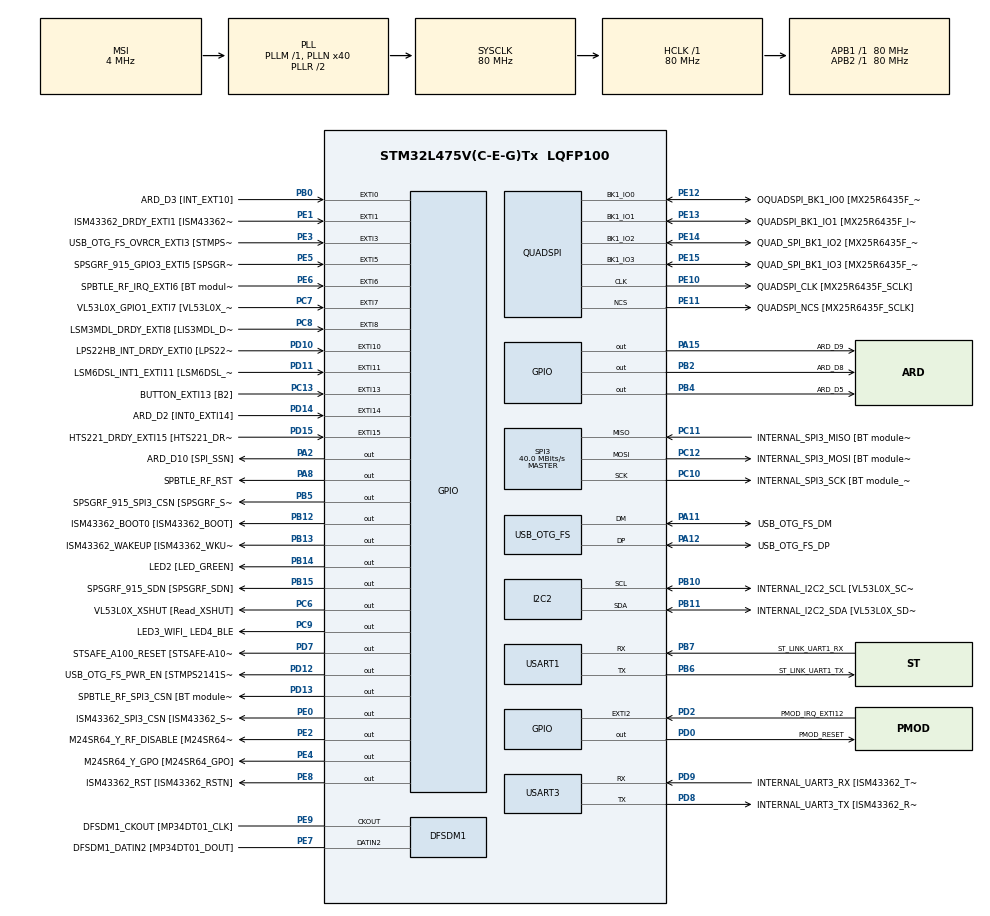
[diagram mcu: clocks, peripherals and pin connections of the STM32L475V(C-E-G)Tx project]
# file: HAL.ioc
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Mcu.Family=STM32L4
Mcu.Name=STM32L475V(C-E-G)Tx
Mcu.Package=LQFP100
NVIC.EXTI15_10_IRQn=true\:0\:0\:false\:false\:true\:true\:true\:true
NVIC.EXTI9_5_IRQn=true\:0\:0\:false\:false\:true\:true\:true\:true
NVIC.PriorityGroup=NVIC_PRIORITYGROUP_4
PA0.GPIO_Label=ARD_D1 [UART4_TX]
PA0.Signal=UART4_TX
PA1.GPIO_Label=ARD_D0 [UART4_RX]
PA1.Signal=UART4_RX
PA10.GPIO_Label=USB_OTG_FS_ID
PA10.Signal=USB_OTG_FS_ID
PA11.GPIO_Label=USB_OTG_FS_DM
PA11.Mode=Device_Only
PA11.Signal=USB_OTG_FS_DM
PA12.GPIO_Label=USB_OTG_FS_DP
PA12.Mode=Device_Only
PA12.Signal=USB_OTG_FS_DP
PA13\ (JTMS-SWDIO).GPIO_Label=SYS_JTMS_SWDIO
PA13\ (JTMS-SWDIO).Mode=Serial_Wire
PA13\ (JTMS-SWDIO).Signal=SYS_JTMS-SWDIO
PA14\ (JTCK-SWCLK).GPIO_Label=SYS_JTCK_SWCLK
PA14\ (JTCK-SWCLK).Mode=Serial_Wire
PA14\ (JTCK-SWCLK).Signal=SYS_JTCK-SWCLK
PA15\ (JTDI).GPIO_Label=ARD_D9
PA15\ (JTDI).Signal=GPIO_Output
PA2.GPIO_Label=ARD_D10 [SPI_SSN]
PA2.Signal=GPIO_Output
PA3.GPIO_Label=ARD_D4
PA3.Signal=S_TIM2_CH4
PA4.GPIO_Label=ARD_D7
PA4.Signal=ADCx_IN9
PA5.GPIO_Label=ARD_D13 [SPI1_SCK]
PA5.Signal=SPI1_SCK
PA6.GPIO_Label=ARD_D12 [SPI1_MISO]
PA6.Signal=SPI1_MISO
PA7.GPIO_Label=ARD_D11 [SPI1_MOSI]
PA7.Signal=SPI1_MOSI
PA8.GPIO_Label=SPBTLE_RF_RST
PA8.Signal=GPIO_Output
PA9.GPIO_Label=USB_OTG_FS_VBUS [STMPS2141STR_OUT]
PA9.Signal=USB_OTG_FS_VBUS
PB0.GPIO_Label=ARD_D3 [INT_EXT10]
PB0.Signal=GPXTI0
PB1.GPIO_Label=ARD_D6 [ADC1_IN6]
PB1.Signal=ADCx_IN16
PB10.GPIO_Label=INTERNAL_I2C2_SCL [VL53L0X_SCL]
PB10.GPIO_Pu=GPIO_PULLUP
PB10.Mode=I2C
PB10.Signal=I2C2_SCL
PB11.GPIO_Label=INTERNAL_I2C2_SDA [VL53L0X_SDA]
PB11.GPIO_Pu=GPIO_PULLUP
PB11.Mode=I2C
PB11.Signal=I2C2_SDA
PB12.GPIO_Label=ISM43362_BOOT0 [ISM43362_BOOT]
PB12.Signal=GPIO_Output
PB13.GPIO_Label=ISM43362_WAKEUP [ISM43362_WKUP]
PB13.Signal=GPIO_Output
PB14.GPIO_Label=LED2 [LED_GREEN]
PB14.Signal=GPIO_Output
PB15.GPIO_Label=SPSGRF_915_SDN [SPSGRF_SDN]
PB15.Signal=GPIO_Output
PB2.GPIO_Label=ARD_D8
PB2.Signal=GPIO_Output
PB3\ (JTDO-TRACESWO).GPIO_Label=SYS_JTD0_SWO
PB3\ (JTDO-TRACESWO).Signal=SYS_JTDO-SWO
PB4\ (NJTRST).GPIO_Label=ARD_D5
PB4\ (NJTRST).Signal=GPIO_Output
PB5.GPIO_Label=SPSGRF_915_SPI3_CSN [SPSGRF_SPI_CS]
PB5.PinState=GPIO_PIN_SET
PB5.Signal=GPIO_Output
PB6.GPIO_Label=ST_LINK_UART1_TX
PB6.Mode=Asynchronous
PB6.Signal=USART1_TX
PB7.GPIO_Label=ST_LINK_UART1_RX
PB7.Mode=Asynchronous
PB7.Signal=USART1_RX
PB8.GPIO_Label=ARD_D15 [I2C1_SCL]
PB8.Signal=I2C1_SCL
PB9.GPIO_Label=ARD_D14 [I2C1_SDA]
PB9.Signal=I2C1_SDA
PC0.GPIO_Label=ARD_A5 [ADC]
PC0.Signal=ADCx_IN1
PC1.GPIO_Label=ARD_A4 [ADC]
PC1.Signal=ADCx_IN2
PC10.GPIO_Label=INTERNAL_SPI3_SCK [BT module_SPI_SCLK] [ISM43362_SCK]
PC10.Mode=Full_Duplex_Master
PC10.Signal=SPI3_SCK
PC11.GPIO_Label=INTERNAL_SPI3_MISO [BT module_SPI_MISO] [ISM43362_MISO]
PC11.Mode=Full_Duplex_Master
PC11.Signal=SPI3_MISO
PC12.GPIO_Label=INTERNAL_SPI3_MOSI [BT module_SPI_MOSI] [ISM43362_MOSI]
PC12.Mode=Full_Duplex_Master
PC12.Signal=SPI3_MOSI
PC13.GPIO_Label=BUTTON_EXTI13 [B2]
PC13.GPIO_ModeDefaultEXTI=GPIO_MODE_IT_FALLING
PC13.Signal=GPXTI13
PC14-OSC32_IN\ (PC14).Mode=LSE-External-Oscillator
PC14-OSC32_IN\ (PC14).Signal=RCC_OSC32_IN
PC15-OSC32_OUT\ (PC15).Mode=LSE-External-Oscillator
PC15-OSC32_OUT\ (PC15).Signal=RCC_OSC32_OUT
PC2.GPIO_Label=ARD_A3 [ADC]
PC2.Signal=ADCx_IN3
PC3.GPIO_Label=ARD_A2 [ADC]
PC3.Signal=ADCx_IN4
PC4.GPIO_Label=ARD_A1 [ADC]
PC4.Signal=ADCx_IN13
PC5.GPIO_Label=ARD_A0 [ADC]
PC5.Signal=ADCx_IN14
PC6.GPIO_Label=VL53L0X_XSHUT [Read_XSHUT]
PC6.Signal=GPIO_Output
PC7.GPIO_Label=VL53L0X_GPIO1_EXTI7 [VL53L0X_GPIO1]
PC7.Signal=GPXTI7
PC8.GPIO_Label=LSM3MDL_DRDY_EXTI8 [LIS3MDL_DRDY]
PC8.Signal=GPXTI8
PC9.GPIO_Label=LED3_WIFI_ LED4_BLE
PC9.Signal=GPIO_Output
PD0.GPIO_Label=PMOD_RESET
PD0.Signal=GPIO_Output
PD1.GPIO_Label=PMOD_SPI2_SCK
PD1.Signal=SPI2_SCK
PD10.GPIO_Label=LPS22HB_INT_DRDY_EXTI0 [LPS22HB_INT_DRDY] 
PD10.Signal=GPXTI10
PD11.GPIO_Label=LSM6DSL_INT1_EXTI11 [LSM6DSL_INT1]
PD11.Signal=GPXTI11
PD12.GPIO_Label=USB_OTG_FS_PWR_EN [STMPS2141STR_EN]
PD12.Signal=GPIO_Output
PD13.GPIO_Label=SPBTLE_RF_SPI3_CSN [BT module_SPI_CS]
PD13.PinState=GPIO_PIN_SET
PD13.Signal=GPIO_Output
PD14.GPIO_Label=ARD_D2 [INT0_EXTI14]
PD14.Signal=GPXTI14
PD15.GPIO_Label=HTS221_DRDY_EXTI15 [HTS221_DRDY]
PD15.Signal=GPXTI15
PD2.GPIO_Label=PMOD_IRQ_EXTI12
PD2.Signal=GPXTI2
PD3.GPIO_Label=PMOD_UART2_CTS
PD3.Signal=USART2_CTS
PD4.GPIO_Label=PMOD_UART2_RTS
PD4.Signal=USART2_RTS
PD5.GPIO_Label=PMOD_UART2_TX
PD5.Signal=USART2_TX
PD6.GPIO_Label=PMOD_UART2_RX
PD6.Signal=USART2_RX
PD7.GPIO_Label=STSAFE_A100_RESET [STSAFE-A100_RESET]
PD7.Signal=GPIO_Output
PD8.GPIO_Label=INTERNAL_UART3_TX [ISM43362_RX]
PD8.Mode=Asynchronous
PD8.Signal=USART3_TX
PD9.GPIO_Label=INTERNAL_UART3_RX [ISM43362_TX]
PD9.Mode=Asynchronous
PD9.Signal=USART3_RX
PE0.GPIO_Label=ISM43362_SPI3_CSN [ISM43362_SSN]
PE0.PinState=GPIO_PIN_SET
PE0.Signal=GPIO_Output
PE1.GPIO_Label=ISM43362_DRDY_EXTI1 [ISM43362_DATARDY]
PE1.Signal=GPXTI1
PE10.GPIO_Label=QUADSPI_CLK [MX25R6435F_SCLK]
PE10.Mode=Single Bank
PE10.Signal=QUADSPI_CLK
PE11.GPIO_Label=QUADSPI_NCS [MX25R6435F_SCLK]
PE11.Mode=Single Bank
PE11.Signal=QUADSPI_NCS
PE12.GPIO_Label=OQUADSPI_BK1_IO0 [MX25R6435F_IO0]
PE12.Mode=Single Bank
PE12.Signal=QUADSPI_BK1_IO0
PE13.GPIO_Label=QUADSPI_BK1_IO1 [MX25R6435F_IO1]
PE13.Mode=Single Bank
PE13.Signal=QUADSPI_BK1_IO1
PE14.GPIO_Label=QUAD_SPI_BK1_IO2 [MX25R6435F_IO2]
PE14.Mode=Single Bank
PE14.Signal=QUADSPI_BK1_IO2
PE15.GPIO_Label=QUAD_SPI_BK1_IO3 [MX25R6435F_IO3]
PE15.Mode=Single Bank
PE15.Signal=QUADSPI_BK1_IO3
PE2.GPIO_Label=M24SR64_Y_RF_DISABLE [M24SR64_RFDIS]
PE2.Signal=GPIO_Output
PE3.GPIO_Label=USB_OTG_FS_OVRCR_EXTI3 [STMPS2141STR_FAULT]
PE3.Signal=GPXTI3
PE4.GPIO_Label=M24SR64_Y_GPO [M24SR64_GPO]
PE4.Signal=GPIO_Output
PE5.GPIO_Label=SPSGRF_915_GPIO3_EXTI5 [SPSGRF_GPIO_3]
PE5.Signal=GPXTI5
PE6.GPIO_Label=SPBTLE_RF_IRQ_EXTI6 [BT module_SPI_IRQ]
PE6.Signal=GPXTI6
PE7.GPIO_Label=DFSDM1_DATIN2 [MP34DT01_DOUT]
PE7.Signal=S_DATAIN2DFSDM1
PE8.GPIO_Label=ISM43362_RST [ISM43362_RSTN]
PE8.Signal=GPIO_Output
PE9.GPIO_Label=DFSDM1_CKOUT [MP34DT01_CLK]
PE9.Signal=S_CKOUTDFSDM1
ProjectManager.HeapSize=0x200
ProjectManager.StackSize=0x400
ProjectManager.TargetToolchain=STM32CubeIDE
QUADSPI.ClockPrescaler=2
QUADSPI.FifoThreshold=4
QUADSPI.FlashSize=23
QUADSPI.SampleShifting=QSPI_SAMPLE_SHIFTING_HALFCYCLE
RCC.ADCFreq_Value=48000000
RCC.AHBFreq_Value=80000000
RCC.APB1Freq_Value=80000000
RCC.APB1TimFreq_Value=80000000
RCC.APB2Freq_Value=80000000
RCC.APB2TimFreq_Value=80000000
RCC.CortexFreq_Value=80000000
RCC.HCLKFreq_Value=80000000
RCC.HSE_VALUE=8000000
RCC.HSI_VALUE=16000000
RCC.MSI_VALUE=4000000
RCC.PLLN=40
RCC.PLLSAI1N=24
RCC.SYSCLKFreq_VALUE=80000000
RCC.SYSCLKSource=RCC_SYSCLKSOURCE_PLLCLK
RCC.USBFreq_Value=48000000
RCC.VCOOutputFreq_Value=160000000
SH.ADCx_IN1.0=ADC1_IN1
SH.ADCx_IN13.0=ADC1_IN13
SH.ADCx_IN14.0=ADC1_IN14
SH.ADCx_IN16.0=ADC1_IN16
SH.ADCx_IN2.0=ADC1_IN2
SH.ADCx_IN3.0=ADC1_IN3
SH.ADCx_IN4.0=ADC1_IN4
SH.ADCx_IN9.0=ADC1_IN9
SH.S_CKOUTDFSDM1.0=DFSDM1_CKOUT,CKOUT
SH.S_CKOUTDFSDM1.1=DFSDM1_CKOUT,PDM_SPI_Input_from_ch12_and_Internal_Clock
SH.S_DATAIN2DFSDM1.0=DFSDM1_DATIN2,PDM_SPI_Input_from_ch12_and_Internal_Clock
SH.S_TIM2_CH4.0=TIM2_CH4
SPI3.CalculateBaudRate=40.0 MBits/s
SPI3.Direction=SPI_DIRECTION_2LINES
SPI3.Mode=SPI_MODE_MASTER
SPI3.VirtualType=VM_MASTER
USART1.VirtualMode-Asynchronous=VM_ASYNC
USART3.VirtualMode-Asynchronous=VM_ASYNC
USB_OTG_FS.VirtualMode=Device_Only
board=B-L475E-IOT01A1

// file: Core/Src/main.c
/* USER CODE BEGIN Header */
/**
  ******************************************************************************
  * @file           : main.c
  * @brief          : Main program body
  ******************************************************************************
  * @attention
  *
  * Copyright (c) 2025 STMicroelectronics.
  * All rights reserved.
  *
  * This software is licensed under terms that can be found in the LICENSE file
  * in the root directory of this software component.
  * If no LICENSE file comes with this software, it is provided AS-IS.
  *
  ******************************************************************************
  */
/* USER CODE END Header */
#include "main.h"

/* USER CODE BEGIN Includes */
#include <stdio.h>
#include <inttypes.h>
/* USER CODE END Includes */

DFSDM_Channel_HandleTypeDef hdfsdm1_channel1;

I2C_HandleTypeDef hi2c2;

QSPI_HandleTypeDef hqspi;

SPI_HandleTypeDef hspi3;

UART_HandleTypeDef huart1;
UART_HandleTypeDef huart3;

PCD_HandleTypeDef hpcd_USB_OTG_FS;

void SystemClock_Config(void);
static void MX_GPIO_Init(void);
static void MX_DFSDM1_Init(void);
static void MX_I2C2_Init(void);
static void MX_QUADSPI_Init(void);
static void MX_SPI3_Init(void);
static void MX_USART1_UART_Init(void);
static void MX_USART3_UART_Init(void);
static void MX_USB_OTG_FS_PCD_Init(void);

/* USER CODE BEGIN 0 */

// Overwriting function to enable "printf"
int __io_putchar(int ch) {
    HAL_UART_Transmit(&huart1, (uint8_t *) &ch, 1, 1000);
    return 1;
}

/* USER CODE END 0 */

int main(void)
{

  /* MCU Configuration--------------------------------------------------------*/

  /* Reset of all peripherals, Initializes the Flash interface and the Systick. */
  HAL_Init();

  /* Configure the system clock */
  SystemClock_Config();

  /* Initialize all configured peripherals */
  MX_GPIO_Init();
  MX_DFSDM1_Init();
  MX_I2C2_Init();
  MX_QUADSPI_Init();
  MX_SPI3_Init();
  MX_USART1_UART_Init();
  MX_USART3_UART_Init();
  MX_USB_OTG_FS_PCD_Init();
  /* USER CODE BEGIN 2 */
  // Get the device ID
  uint32_t device_id = HAL_GetDEVID();
  // Note more conversion work is needed to convert a 32 bit number into a 16 bit
  printf("Device identifier: %08" PRIx32 "\r\n", device_id);

  // Get the revision ID
  uint32_t revision_id = HAL_GetREVID();
  printf("Revision identifier: %08" PRIx32 "\r\n", revision_id);

  // Get the unique ID
  uint32_t uid[3];
  uid[0] = HAL_GetUIDw0();
  uid[1] = HAL_GetUIDw1();
  uid[2] = HAL_GetUIDw2();

  printf("UID: %08" PRIx32 "-%08" PRIx32 "-%08" PRIx32 "\r\n", uid[0], uid[1], uid[2]);

  /* USER CODE END 2 */

  /* Infinite loop */
  while (1)
  {

    /* USER CODE BEGIN 3 */
	  GPIO_PinState pin_state = HAL_GPIO_ReadPin(GPIOC, BUTTON_EXTI13_Pin);
	  if (pin_state == GPIO_PIN_SET) { // Button open and not pressed
		  printf("Pin set\r\n");
		  HAL_Delay(250);

	  } else {  // Button pressed
		  printf("Pin reset\r\n");
		  HAL_Delay(1000);
	  }
	  HAL_GPIO_TogglePin(LED2_GPIO_Port, LED2_Pin);

  }
  /* USER CODE END 3 */
}

void SystemClock_Config(void)
{
  RCC_OscInitTypeDef RCC_OscInitStruct = {0};
  RCC_ClkInitTypeDef RCC_ClkInitStruct = {0};

  /** Configure the main internal regulator output voltage
  */
  if (HAL_PWREx_ControlVoltageScaling(PWR_REGULATOR_VOLTAGE_SCALE1) != HAL_OK)
  {
    Error_Handler();
  }

  /** Configure LSE Drive Capability
  */
  HAL_PWR_EnableBkUpAccess();
  __HAL_RCC_LSEDRIVE_CONFIG(RCC_LSEDRIVE_LOW);

  /** Initializes the RCC Oscillators according to the specified parameters
  * in the RCC_OscInitTypeDef structure.
  */
  RCC_OscInitStruct.OscillatorType = RCC_OSCILLATORTYPE_LSE|RCC_OSCILLATORTYPE_MSI;
  RCC_OscInitStruct.LSEState = RCC_LSE_ON;
  RCC_OscInitStruct.MSIState = RCC_MSI_ON;
  RCC_OscInitStruct.MSICalibrationValue = 0;
  RCC_OscInitStruct.MSIClockRange = RCC_MSIRANGE_6;
  RCC_OscInitStruct.PLL.PLLState = RCC_PLL_ON;
  RCC_OscInitStruct.PLL.PLLSource = RCC_PLLSOURCE_MSI;
  RCC_OscInitStruct.PLL.PLLM = 1;
  RCC_OscInitStruct.PLL.PLLN = 40;
  RCC_OscInitStruct.PLL.PLLP = RCC_PLLP_DIV7;
  RCC_OscInitStruct.PLL.PLLQ = RCC_PLLQ_DIV2;
  RCC_OscInitStruct.PLL.PLLR = RCC_PLLR_DIV2;
  if (HAL_RCC_OscConfig(&RCC_OscInitStruct) != HAL_OK)
  {
    Error_Handler();
  }

  /** Initializes the CPU, AHB and APB buses clocks
  */
  RCC_ClkInitStruct.ClockType = RCC_CLOCKTYPE_HCLK|RCC_CLOCKTYPE_SYSCLK
                              |RCC_CLOCKTYPE_PCLK1|RCC_CLOCKTYPE_PCLK2;
  RCC_ClkInitStruct.SYSCLKSource = RCC_SYSCLKSOURCE_PLLCLK;
  RCC_ClkInitStruct.AHBCLKDivider = RCC_SYSCLK_DIV1;
  RCC_ClkInitStruct.APB1CLKDivider = RCC_HCLK_DIV1;
  RCC_ClkInitStruct.APB2CLKDivider = RCC_HCLK_DIV1;

  if (HAL_RCC_ClockConfig(&RCC_ClkInitStruct, FLASH_LATENCY_4) != HAL_OK)
  {
    Error_Handler();
  }

  /** Enable MSI Auto calibration
  */
  HAL_RCCEx_EnableMSIPLLMode();
}

static void MX_DFSDM1_Init(void)
{

  hdfsdm1_channel1.Instance = DFSDM1_Channel1;
  hdfsdm1_channel1.Init.OutputClock.Activation = ENABLE;
  hdfsdm1_channel1.Init.OutputClock.Selection = DFSDM_CHANNEL_OUTPUT_CLOCK_SYSTEM;
  hdfsdm1_channel1.Init.OutputClock.Divider = 2;
  hdfsdm1_channel1.Init.Input.Multiplexer = DFSDM_CHANNEL_EXTERNAL_INPUTS;
  hdfsdm1_channel1.Init.Input.DataPacking = DFSDM_CHANNEL_STANDARD_MODE;
  hdfsdm1_channel1.Init.Input.Pins = DFSDM_CHANNEL_FOLLOWING_CHANNEL_PINS;
  hdfsdm1_channel1.Init.SerialInterface.Type = DFSDM_CHANNEL_SPI_RISING;
  hdfsdm1_channel1.Init.SerialInterface.SpiClock = DFSDM_CHANNEL_SPI_CLOCK_INTERNAL;
  hdfsdm1_channel1.Init.Awd.FilterOrder = DFSDM_CHANNEL_FASTSINC_ORDER;
  hdfsdm1_channel1.Init.Awd.Oversampling = 1;
  hdfsdm1_channel1.Init.Offset = 0;
  hdfsdm1_channel1.Init.RightBitShift = 0x00;
  if (HAL_DFSDM_ChannelInit(&hdfsdm1_channel1) != HAL_OK)
  {
    Error_Handler();
  }

}

static void MX_I2C2_Init(void)
{

  hi2c2.Instance = I2C2;
  hi2c2.Init.Timing = 0x00000E14;
  hi2c2.Init.OwnAddress1 = 0;
  hi2c2.Init.AddressingMode = I2C_ADDRESSINGMODE_7BIT;
  hi2c2.Init.DualAddressMode = I2C_DUALADDRESS_DISABLE;
  hi2c2.Init.OwnAddress2 = 0;
  hi2c2.Init.OwnAddress2Masks = I2C_OA2_NOMASK;
  hi2c2.Init.GeneralCallMode = I2C_GENERALCALL_DISABLE;
  hi2c2.Init.NoStretchMode = I2C_NOSTRETCH_DISABLE;
  if (HAL_I2C_Init(&hi2c2) != HAL_OK)
  {
    Error_Handler();
  }

  /** Configure Analogue filter
  */
  if (HAL_I2CEx_ConfigAnalogFilter(&hi2c2, I2C_ANALOGFILTER_ENABLE) != HAL_OK)
  {
    Error_Handler();
  }

  /** Configure Digital filter
  */
  if (HAL_I2CEx_ConfigDigitalFilter(&hi2c2, 0) != HAL_OK)
  {
    Error_Handler();
  }

}

static void MX_QUADSPI_Init(void)
{

  /* QUADSPI parameter configuration*/
  hqspi.Instance = QUADSPI;
  hqspi.Init.ClockPrescaler = 2;
  hqspi.Init.FifoThreshold = 4;
  hqspi.Init.SampleShifting = QSPI_SAMPLE_SHIFTING_HALFCYCLE;
  hqspi.Init.FlashSize = 23;
  hqspi.Init.ChipSelectHighTime = QSPI_CS_HIGH_TIME_1_CYCLE;
  hqspi.Init.ClockMode = QSPI_CLOCK_MODE_0;
  if (HAL_QSPI_Init(&hqspi) != HAL_OK)
  {
    Error_Handler();
  }

}

static void MX_SPI3_Init(void)
{

  /* SPI3 parameter configuration*/
  hspi3.Instance = SPI3;
  hspi3.Init.Mode = SPI_MODE_MASTER;
  hspi3.Init.Direction = SPI_DIRECTION_2LINES;
  hspi3.Init.DataSize = SPI_DATASIZE_4BIT;
  hspi3.Init.CLKPolarity = SPI_POLARITY_LOW;
  hspi3.Init.CLKPhase = SPI_PHASE_1EDGE;
  hspi3.Init.NSS = SPI_NSS_SOFT;
  hspi3.Init.BaudRatePrescaler = SPI_BAUDRATEPRESCALER_2;
  hspi3.Init.FirstBit = SPI_FIRSTBIT_MSB;
  hspi3.Init.TIMode = SPI_TIMODE_DISABLE;
  hspi3.Init.CRCCalculation = SPI_CRCCALCULATION_DISABLE;
  hspi3.Init.CRCPolynomial = 7;
  hspi3.Init.CRCLength = SPI_CRC_LENGTH_DATASIZE;
  hspi3.Init.NSSPMode = SPI_NSS_PULSE_ENABLE;
  if (HAL_SPI_Init(&hspi3) != HAL_OK)
  {
    Error_Handler();
  }

}

static void MX_USART1_UART_Init(void)
{

  huart1.Instance = USART1;
  huart1.Init.BaudRate = 115200;
  huart1.Init.WordLength = UART_WORDLENGTH_8B;
  huart1.Init.StopBits = UART_STOPBITS_1;
  huart1.Init.Parity = UART_PARITY_NONE;
  huart1.Init.Mode = UART_MODE_TX_RX;
  huart1.Init.HwFlowCtl = UART_HWCONTROL_NONE;
  huart1.Init.OverSampling = UART_OVERSAMPLING_16;
  huart1.Init.OneBitSampling = UART_ONE_BIT_SAMPLE_DISABLE;
  huart1.AdvancedInit.AdvFeatureInit = UART_ADVFEATURE_NO_INIT;
  if (HAL_UART_Init(&huart1) != HAL_OK)
  {
    Error_Handler();
  }

}

static void MX_USART3_UART_Init(void)
{

  huart3.Instance = USART3;
  huart3.Init.BaudRate = 115200;
  huart3.Init.WordLength = UART_WORDLENGTH_8B;
  huart3.Init.StopBits = UART_STOPBITS_1;
  huart3.Init.Parity = UART_PARITY_NONE;
  huart3.Init.Mode = UART_MODE_TX_RX;
  huart3.Init.HwFlowCtl = UART_HWCONTROL_NONE;
  huart3.Init.OverSampling = UART_OVERSAMPLING_16;
  huart3.Init.OneBitSampling = UART_ONE_BIT_SAMPLE_DISABLE;
  huart3.AdvancedInit.AdvFeatureInit = UART_ADVFEATURE_NO_INIT;
  if (HAL_UART_Init(&huart3) != HAL_OK)
  {
    Error_Handler();
  }

}

static void MX_USB_OTG_FS_PCD_Init(void)
{

  hpcd_USB_OTG_FS.Instance = USB_OTG_FS;
  hpcd_USB_OTG_FS.Init.dev_endpoints = 6;
  hpcd_USB_OTG_FS.Init.speed = PCD_SPEED_FULL;
  hpcd_USB_OTG_FS.Init.phy_itface = PCD_PHY_EMBEDDED;
  hpcd_USB_OTG_FS.Init.Sof_enable = DISABLE;
  hpcd_USB_OTG_FS.Init.low_power_enable = DISABLE;
  hpcd_USB_OTG_FS.Init.lpm_enable = DISABLE;
  hpcd_USB_OTG_FS.Init.battery_charging_enable = DISABLE;
  hpcd_USB_OTG_FS.Init.use_dedicated_ep1 = DISABLE;
  hpcd_USB_OTG_FS.Init.vbus_sensing_enable = DISABLE;
  if (HAL_PCD_Init(&hpcd_USB_OTG_FS) != HAL_OK)
  {
    Error_Handler();
  }

}

static void MX_GPIO_Init(void)
{
  GPIO_InitTypeDef GPIO_InitStruct = {0};

  /* GPIO Ports Clock Enable */
  __HAL_RCC_GPIOE_CLK_ENABLE();
  __HAL_RCC_GPIOC_CLK_ENABLE();
  __HAL_RCC_GPIOA_CLK_ENABLE();
  __HAL_RCC_GPIOB_CLK_ENABLE();
  __HAL_RCC_GPIOD_CLK_ENABLE();

  /*Configure GPIO pin Output Level */
  HAL_GPIO_WritePin(GPIOE, M24SR64_Y_RF_DISABLE_Pin|M24SR64_Y_GPO_Pin|ISM43362_RST_Pin, GPIO_PIN_RESET);

  /*Configure GPIO pin Output Level */
  HAL_GPIO_WritePin(GPIOA, ARD_D10_Pin|SPBTLE_RF_RST_Pin|ARD_D9_Pin, GPIO_PIN_RESET);

  /*Configure GPIO pin Output Level */
  HAL_GPIO_WritePin(GPIOB, ARD_D8_Pin|ISM43362_BOOT0_Pin|ISM43362_WAKEUP_Pin|LED2_Pin
                          |SPSGRF_915_SDN_Pin|ARD_D5_Pin, GPIO_PIN_RESET);

  /*Configure GPIO pin Output Level */
  HAL_GPIO_WritePin(GPIOD, USB_OTG_FS_PWR_EN_Pin|PMOD_RESET_Pin|STSAFE_A100_RESET_Pin, GPIO_PIN_RESET);

  /*Configure GPIO pin Output Level */
  HAL_GPIO_WritePin(SPBTLE_RF_SPI3_CSN_GPIO_Port, SPBTLE_RF_SPI3_CSN_Pin, GPIO_PIN_SET);

  /*Configure GPIO pin Output Level */
  HAL_GPIO_WritePin(GPIOC, VL53L0X_XSHUT_Pin|LED3_WIFI__LED4_BLE_Pin, GPIO_PIN_RESET);

  /*Configure GPIO pin Output Level */
  HAL_GPIO_WritePin(SPSGRF_915_SPI3_CSN_GPIO_Port, SPSGRF_915_SPI3_CSN_Pin, GPIO_PIN_SET);

  /*Configure GPIO pin Output Level */
  HAL_GPIO_WritePin(ISM43362_SPI3_CSN_GPIO_Port, ISM43362_SPI3_CSN_Pin, GPIO_PIN_SET);

  /*Configure GPIO pins : M24SR64_Y_RF_DISABLE_Pin M24SR64_Y_GPO_Pin ISM43362_RST_Pin ISM43362_SPI3_CSN_Pin */
  GPIO_InitStruct.Pin = M24SR64_Y_RF_DISABLE_Pin|M24SR64_Y_GPO_Pin|ISM43362_RST_Pin|ISM43362_SPI3_CSN_Pin;
  GPIO_InitStruct.Mode = GPIO_MODE_OUTPUT_PP;
  GPIO_InitStruct.Pull = GPIO_NOPULL;
  GPIO_InitStruct.Speed = GPIO_SPEED_FREQ_LOW;
  HAL_GPIO_Init(GPIOE, &GPIO_InitStruct);

  /*Configure GPIO pins : USB_OTG_FS_OVRCR_EXTI3_Pin SPSGRF_915_GPIO3_EXTI5_Pin SPBTLE_RF_IRQ_EXTI6_Pin ISM43362_DRDY_EXTI1_Pin */
  GPIO_InitStruct.Pin = USB_OTG_FS_OVRCR_EXTI3_Pin|SPSGRF_915_GPIO3_EXTI5_Pin|SPBTLE_RF_IRQ_EXTI6_Pin|ISM43362_DRDY_EXTI1_Pin;
  GPIO_InitStruct.Mode = GPIO_MODE_IT_RISING;
  GPIO_InitStruct.Pull = GPIO_NOPULL;
  HAL_GPIO_Init(GPIOE, &GPIO_InitStruct);

  /*Configure GPIO pin : BUTTON_EXTI13_Pin */
  GPIO_InitStruct.Pin = BUTTON_EXTI13_Pin;
  GPIO_InitStruct.Mode = GPIO_MODE_IT_FALLING;
  GPIO_InitStruct.Pull = GPIO_NOPULL;
  HAL_GPIO_Init(BUTTON_EXTI13_GPIO_Port, &GPIO_InitStruct);

  /*Configure GPIO pins : ARD_A5_Pin ARD_A4_Pin ARD_A3_Pin ARD_A2_Pin
                           ARD_A1_Pin ARD_A0_Pin */
  GPIO_InitStruct.Pin = ARD_A5_Pin|ARD_A4_Pin|ARD_A3_Pin|ARD_A2_Pin
                          |ARD_A1_Pin|ARD_A0_Pin;
  GPIO_InitStruct.Mode = GPIO_MODE_ANALOG_ADC_CONTROL;
  GPIO_InitStruct.Pull = GPIO_NOPULL;
  HAL_GPIO_Init(GPIOC, &GPIO_InitStruct);

  /*Configure GPIO pins : ARD_D1_Pin ARD_D0_Pin */
  GPIO_InitStruct.Pin = ARD_D1_Pin|ARD_D0_Pin;
  GPIO_InitStruct.Mode = GPIO_MODE_AF_PP;
  GPIO_InitStruct.Pull = GPIO_NOPULL;
  GPIO_InitStruct.Speed = GPIO_SPEED_FREQ_VERY_HIGH;
  GPIO_InitStruct.Alternate = GPIO_AF8_UART4;
  HAL_GPIO_Init(GPIOA, &GPIO_InitStruct);

  /*Configure GPIO pins : ARD_D10_Pin SPBTLE_RF_RST_Pin ARD_D9_Pin */
  GPIO_InitStruct.Pin = ARD_D10_Pin|SPBTLE_RF_RST_Pin|ARD_D9_Pin;
  GPIO_InitStruct.Mode = GPIO_MODE_OUTPUT_PP;
  GPIO_InitStruct.Pull = GPIO_NOPULL;
  GPIO_InitStruct.Speed = GPIO_SPEED_FREQ_LOW;
  HAL_GPIO_Init(GPIOA, &GPIO_InitStruct);

  /*Configure GPIO pin : ARD_D4_Pin */
  GPIO_InitStruct.Pin = ARD_D4_Pin;
  GPIO_InitStruct.Mode = GPIO_MODE_AF_PP;
  GPIO_InitStruct.Pull = GPIO_NOPULL;
  GPIO_InitStruct.Speed = GPIO_SPEED_FREQ_LOW;
  GPIO_InitStruct.Alternate = GPIO_AF1_TIM2;
  HAL_GPIO_Init(ARD_D4_GPIO_Port, &GPIO_InitStruct);

  /*Configure GPIO pin : ARD_D7_Pin */
  GPIO_InitStruct.Pin = ARD_D7_Pin;
  GPIO_InitStruct.Mode = GPIO_MODE_ANALOG_ADC_CONTROL;
  GPIO_InitStruct.Pull = GPIO_NOPULL;
  HAL_GPIO_Init(ARD_D7_GPIO_Port, &GPIO_InitStruct);

  /*Configure GPIO pins : ARD_D13_Pin ARD_D12_Pin ARD_D11_Pin */
  GPIO_InitStruct.Pin = ARD_D13_Pin|ARD_D12_Pin|ARD_D11_Pin;
  GPIO_InitStruct.Mode = GPIO_MODE_AF_PP;
  GPIO_InitStruct.Pull = GPIO_NOPULL;
  GPIO_InitStruct.Speed = GPIO_SPEED_FREQ_VERY_HIGH;
  GPIO_InitStruct.Alternate = GPIO_AF5_SPI1;
  HAL_GPIO_Init(GPIOA, &GPIO_InitStruct);

  /*Configure GPIO pin : ARD_D3_Pin */
  GPIO_InitStruct.Pin = ARD_D3_Pin;
  GPIO_InitStruct.Mode = GPIO_MODE_IT_RISING;
  GPIO_InitStruct.Pull = GPIO_NOPULL;
  HAL_GPIO_Init(ARD_D3_GPIO_Port, &GPIO_InitStruct);

  /*Configure GPIO pin : ARD_D6_Pin */
  GPIO_InitStruct.Pin = ARD_D6_Pin;
  GPIO_InitStruct.Mode = GPIO_MODE_ANALOG_ADC_CONTROL;
  GPIO_InitStruct.Pull = GPIO_NOPULL;
  HAL_GPIO_Init(ARD_D6_GPIO_Port, &GPIO_InitStruct);

  /*Configure GPIO pins : ARD_D8_Pin ISM43362_BOOT0_Pin ISM43362_WAKEUP_Pin LED2_Pin
                           SPSGRF_915_SDN_Pin ARD_D5_Pin SPSGRF_915_SPI3_CSN_Pin */
  GPIO_InitStruct.Pin = ARD_D8_Pin|ISM43362_BOOT0_Pin|ISM43362_WAKEUP_Pin|LED2_Pin
                          |SPSGRF_915_SDN_Pin|ARD_D5_Pin|SPSGRF_915_SPI3_CSN_Pin;
  GPIO_InitStruct.Mode = GPIO_MODE_OUTPUT_PP;
  GPIO_InitStruct.Pull = GPIO_NOPULL;
  GPIO_InitStruct.Speed = GPIO_SPEED_FREQ_LOW;
  HAL_GPIO_Init(GPIOB, &GPIO_InitStruct);

  /*Configure GPIO pins : LPS22HB_INT_DRDY_EXTI0_Pin LSM6DSL_INT1_EXTI11_Pin ARD_D2_Pin HTS221_DRDY_EXTI15_Pin
                           PMOD_IRQ_EXTI12_Pin */
  GPIO_InitStruct.Pin = LPS22HB_INT_DRDY_EXTI0_Pin|LSM6DSL_INT1_EXTI11_Pin|ARD_D2_Pin|HTS221_DRDY_EXTI15_Pin
                          |PMOD_IRQ_EXTI12_Pin;
  GPIO_InitStruct.Mode = GPIO_MODE_IT_RISING;
  GPIO_InitStruct.Pull = GPIO_NOPULL;
  HAL_GPIO_Init(GPIOD, &GPIO_InitStruct);

  /*Configure GPIO pins : USB_OTG_FS_PWR_EN_Pin SPBTLE_RF_SPI3_CSN_Pin PMOD_RESET_Pin STSAFE_A100_RESET_Pin */
  GPIO_InitStruct.Pin = USB_OTG_FS_PWR_EN_Pin|SPBTLE_RF_SPI3_CSN_Pin|PMOD_RESET_Pin|STSAFE_A100_RESET_Pin;
  GPIO_InitStruct.Mode = GPIO_MODE_OUTPUT_PP;
  GPIO_InitStruct.Pull = GPIO_NOPULL;
  GPIO_InitStruct.Speed = GPIO_SPEED_FREQ_LOW;
  HAL_GPIO_Init(GPIOD, &GPIO_InitStruct);

  /*Configure GPIO pins : VL53L0X_XSHUT_Pin LED3_WIFI__LED4_BLE_Pin */
  GPIO_InitStruct.Pin = VL53L0X_XSHUT_Pin|LED3_WIFI__LED4_BLE_Pin;
  GPIO_InitStruct.Mode = GPIO_MODE_OUTPUT_PP;
  GPIO_InitStruct.Pull = GPIO_NOPULL;
  GPIO_InitStruct.Speed = GPIO_SPEED_FREQ_LOW;
  HAL_GPIO_Init(GPIOC, &GPIO_InitStruct);

  /*Configure GPIO pins : VL53L0X_GPIO1_EXTI7_Pin LSM3MDL_DRDY_EXTI8_Pin */
  GPIO_InitStruct.Pin = VL53L0X_GPIO1_EXTI7_Pin|LSM3MDL_DRDY_EXTI8_Pin;
  GPIO_InitStruct.Mode = GPIO_MODE_IT_RISING;
  GPIO_InitStruct.Pull = GPIO_NOPULL;
  HAL_GPIO_Init(GPIOC, &GPIO_InitStruct);

  /*Configure GPIO pin : PMOD_SPI2_SCK_Pin */
  GPIO_InitStruct.Pin = PMOD_SPI2_SCK_Pin;
  GPIO_InitStruct.Mode = GPIO_MODE_AF_PP;
  GPIO_InitStruct.Pull = GPIO_NOPULL;
  GPIO_InitStruct.Speed = GPIO_SPEED_FREQ_VERY_HIGH;
  GPIO_InitStruct.Alternate = GPIO_AF5_SPI2;
  HAL_GPIO_Init(PMOD_SPI2_SCK_GPIO_Port, &GPIO_InitStruct);

  /*Configure GPIO pins : PMOD_UART2_CTS_Pin PMOD_UART2_RTS_Pin PMOD_UART2_TX_Pin PMOD_UART2_RX_Pin */
  GPIO_InitStruct.Pin = PMOD_UART2_CTS_Pin|PMOD_UART2_RTS_Pin|PMOD_UART2_TX_Pin|PMOD_UART2_RX_Pin;
  GPIO_InitStruct.Mode = GPIO_MODE_AF_PP;
  GPIO_InitStruct.Pull = GPIO_NOPULL;
  GPIO_InitStruct.Speed = GPIO_SPEED_FREQ_VERY_HIGH;
  GPIO_InitStruct.Alternate = GPIO_AF7_USART2;
  HAL_GPIO_Init(GPIOD, &GPIO_InitStruct);

  /*Configure GPIO pins : ARD_D15_Pin ARD_D14_Pin */
  GPIO_InitStruct.Pin = ARD_D15_Pin|ARD_D14_Pin;
  GPIO_InitStruct.Mode = GPIO_MODE_AF_OD;
  GPIO_InitStruct.Pull = GPIO_NOPULL;
  GPIO_InitStruct.Speed = GPIO_SPEED_FREQ_VERY_HIGH;
  GPIO_InitStruct.Alternate = GPIO_AF4_I2C1;
  HAL_GPIO_Init(GPIOB, &GPIO_InitStruct);

  /* EXTI interrupt init*/
  HAL_NVIC_SetPriority(EXTI9_5_IRQn, 0, 0);
  HAL_NVIC_EnableIRQ(EXTI9_5_IRQn);

  HAL_NVIC_SetPriority(EXTI15_10_IRQn, 0, 0);
  HAL_NVIC_EnableIRQ(EXTI15_10_IRQn);

}

void Error_Handler(void)
{
  __disable_irq();
  while (1)
  {
  }
}
